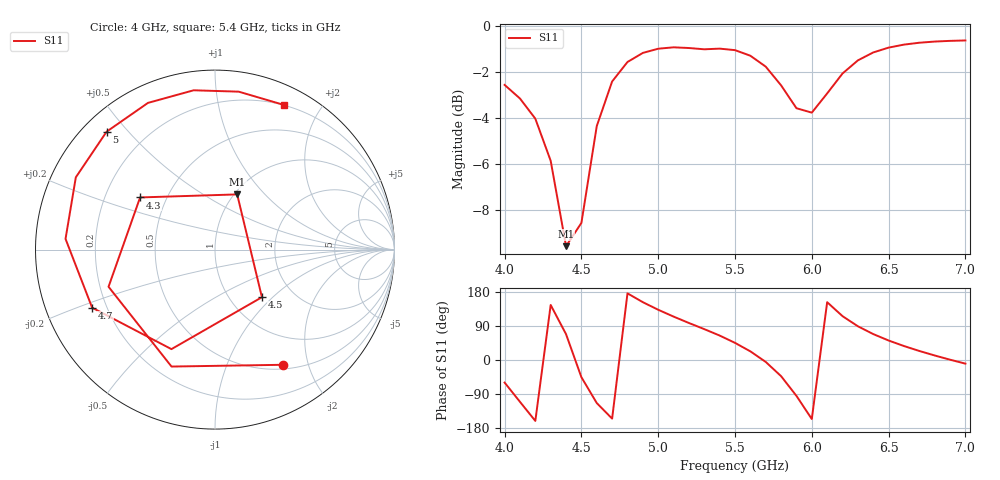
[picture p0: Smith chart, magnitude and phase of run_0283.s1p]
! Touchstone file exported from HFSS 2024.2.0
!  File:  C:/Users/wsak9/Desktop/Sim Fast/Widenad Patch/WP_AI_V1_sweep.aedt
!  Generated:  02:56:46 AM Oct 14, 2026
!  Design:  A1_model
!  Project:  WP_AI_V1_sweep
!  Setup:  Setup1
!  Solution:  Sweep
! Variables:
!  Air_gap = 4.05mm
!  Curve_Amp1 = 3.44
!  Curve_len1 = 1
!  Curve_pos = 13.09mm
!  Extra = 4.57mm
!  H_sub = 0.79mm
!  L_Patch = 22.18mm
!  L_Patch1 = 13.93mm
!  Sx = 2.97mm
!  Sy = 0.97mm
!  WS = 1.12mm
!  W_Patch = 17.48mm
!  W_Patch1 = 9.36mm
!Data is not renormalized
# GHz S MA
! Terminal data exported
! Port[1] = 1
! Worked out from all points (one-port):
!   31 points, 4 GHz to 7 GHz, reference per port
!   lowest |S11| = -9.6 dB at 4.4 GHz (marker M1), VSWR 1.99
!   |S11| at or under -10 dB: nowhere
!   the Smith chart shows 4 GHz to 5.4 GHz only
!   S11 on the Smith chart (normalised r, x): 4 GHz: 0.56, -1.60; 4.3 GHz: 0.35, +0.28; 4.5 GHz: 1.40, -0.86; 4.7 GHz: 0.15, -0.22; 5 GHz: 0.07, +0.44; 5.4 GHz: 0.20, +1.57
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4  0.7442 -59.6
4.1  0.6952 -110.4
4.2  0.6283 -160.8
4.3  0.5085 145.1
4.4  0.3314 68.1
4.5  0.3724 -45.4
4.6  0.6053 -113.6
4.7  0.7571 -154.7
4.8  0.8349 175.9
4.9  0.8738 152.6
5  0.8924 132.6
5.1  0.8987 114.6
5.2  0.8955 97.6
5.4  0.8928 64.5
5.5  0.8861 45.2
5.6  0.8616 22.8
5.7  0.8157 -5.1
5.8  0.7427 -42.6
5.9  0.6621 -94.6
6  0.6475 -155.8
6.1  0.7131 152.5
6.2  0.7881 115.7
6.3  0.8417 89.0
6.4  0.8758 68.4
6.5  0.8973 51.5
6.7  0.9196 23.8
6.8  0.925 11.9
7  0.9302 -9.6
